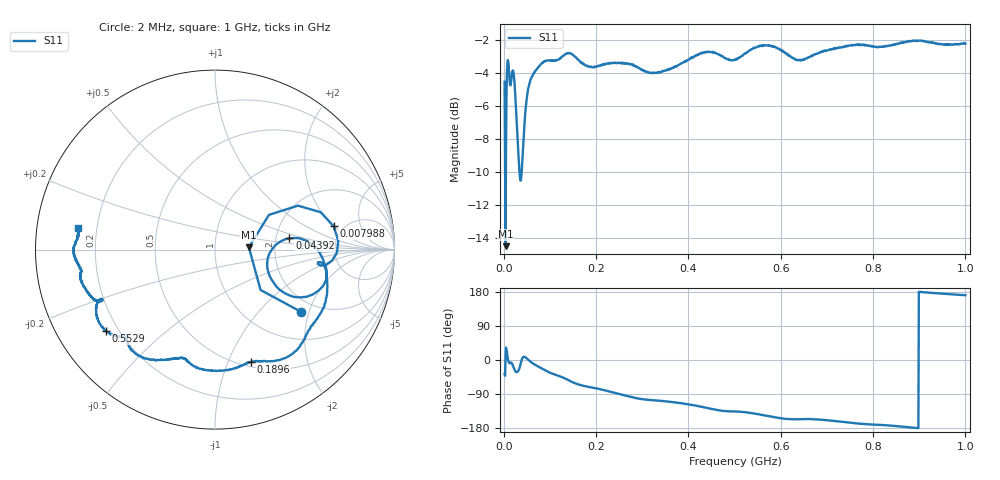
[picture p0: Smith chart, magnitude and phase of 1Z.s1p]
!Keysight Technologies N9923A: A.08.19
!Date: Thursday, 16 January 2020 11:30:00
!TimeZone: (GMT-03:00) Brasilia!Model: N9923A
!Serial: MY51491501
!GPS Latitude:
!GPS Longitude:
!GPS TimeStamp: 0001-01-01 00:00:00Z
!GPS Seconds Since Last Read: 0
!CHECKSUM:1078980270
!Correction: S11(ON U)
!S1P File: Measurement: S11:
# Hz S DB R 50
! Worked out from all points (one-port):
!   1001 points, 2 MHz to 1 GHz, reference 50 ohm
!   lowest |S11| = -14.5 dB at 3.996 MHz (marker M1), VSWR 1.47, Z = 73.2 + j1.96 ohm
!   |S11| at or under -10 dB: 3.118 MHz to 4.802 MHz (1.684 MHz wide, 42.5 % of centre); 34.27 MHz to 38.92 MHz (4.656 MHz wide, 12.7 % of centre)
!   S11 on the Smith chart (normalised r, x): 2 MHz: 1.66, -1.78; 7.988 MHz: 4.14, +1.97; 43.92 MHz: 2.38, +0.36; 189.6 MHz: 0.55, -1.21; 552.9 MHz: 0.15, -0.33; 1 GHz: 0.13, +0.08
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2000000  -4.55 -35.9
3996000  -14.47 3.9
7988000  -3.43 11.1
1.0982e7  -3.68 -5.4
1.3976e7  -4.75 -8.0
2.0962e7  -3.94 -18.6
2.5952e7  -5.78 -30.9
3.0942e7  -8.46 -29.5
3.5932e7  -10.47 -13.9
4.3916e7  -7.55 8.6
5.4894e7  -4.74 -1.2
6.8866e7  -3.88 -13.2
9.5812e7  -3.26 -30.8
1.2675e8  -3.03 -45.4
1.50702e8  -2.93 -59.4
1.89624e8  -3.65 -72.3
2.515e8  -3.41 -90.0
2.94414e8  -3.74 -102.2
3.7625e8  -3.58 -112.7
4.55092e8  -2.78 -130.2
5.01e8  -3.23 -135.8
5.52896e8  -2.38 -143.3
5.86828e8  -2.43 -151.1
6.2575e8  -3.10 -156.6
6.84632e8  -2.77 -157.2
7.505e8  -2.35 -165.4
8.7525e8  -2.11 -177.1
1e9  -2.24 171.1
